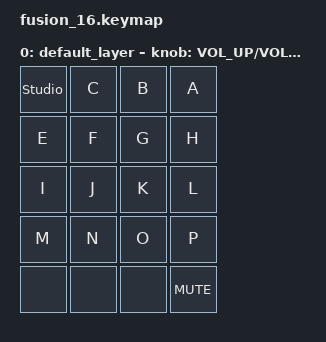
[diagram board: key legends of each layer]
#include <behaviors.dtsi>
#include <dt-bindings/zmk/keys.h>

/ {
  keymap {
    compatible = "zmk,keymap";

    default_layer {
      bindings = <
        &studio_unlock &kp C &kp B &kp A
        &kp E &kp F &kp G &kp H
        &kp I &kp J &kp K &kp L
        &kp M &kp N &kp O &kp P
        &none &none &none &kp C_MUTE
      >;

      sensor-bindings = <
        &inc_dec_kp C_VOL_UP C_VOL_DN
      >;
    };
  };
};
